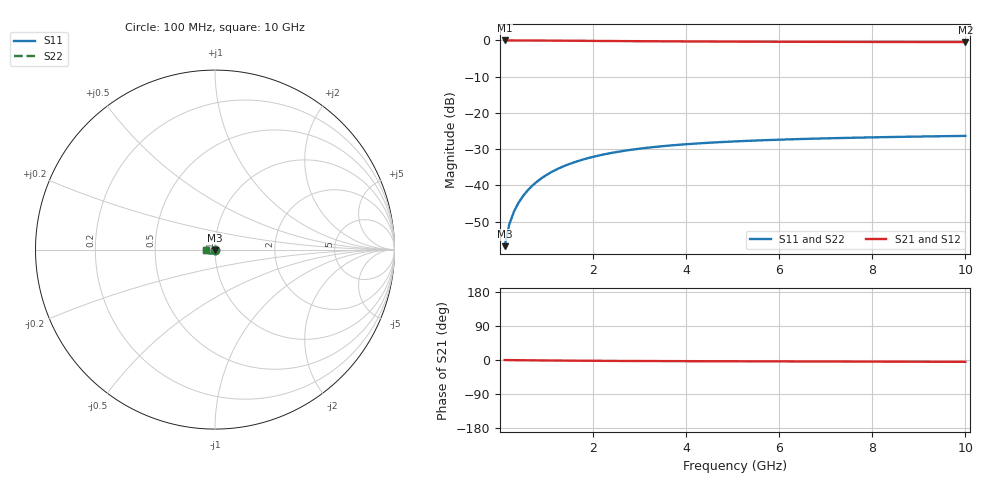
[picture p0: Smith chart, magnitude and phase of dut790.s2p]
! Touchstone file exported from HFSS 2024.1.0
!  File:  C:/UserFiles/LocalFiles/RDL_TSV_Batchsim/temp_TSV1_790_1779875363.aedt
!  Generated:  05:56:34 PM May 27, 2026
!  Design:  TSV1
!  Project:  temp_TSV1_790_1779875363
!  Setup:  Setup1
!  Solution:  Sweep
! Variables:
!  dtsv = 13.26um
!  hbump = 3um
!  htsv = 72.89um
!  lrdl = 252.1521522um
!  p = 40
!  p1 = 56.59um
!  t = 500um
!  trdl = 3um
!  wrdl = 24.89489489um
# GHz S MA R 50.000000
! Terminal data exported
! Port[1] = TSV22_T1
! Port[2] = TSV22_T2
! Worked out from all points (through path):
!   100 points, 100 MHz to 10 GHz, reference 50 ohm
!   highest |S21| = 0.00 dB at 100 MHz (marker M1); lowest = -0.4 dB at 10 GHz (marker M2)
!   lowest |S11| = -56.8 dB at 100 MHz (marker M3), VSWR 1.00, Z = 50 - j0.145 ohm
!   |S11| at or under -10 dB: start of sweep to end of sweep
!   |S22| runs from -56.8 to -26.3 dB; largest |S21 - S12| = 5.9e-15
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0.1  0.001449 -88.7  0.9999 -0.1  0.9999 -0.1  0.001449 -88.7
! Gamma 0 0 0 0
! Port Impedance 50 0 50 0
0.2  0.002894 -92.1  0.9997 -0.3  0.9997 -0.3  0.002894 -92.1
0.3  0.004338 -94.5  0.9994 -0.4  0.9994 -0.4  0.004338 -94.5
0.4  0.005772 -96.6  0.9991 -0.5  0.9991 -0.5  0.005772 -96.6
0.5  0.007192 -98.7  0.9986 -0.6  0.9986 -0.6  0.007192 -98.7
0.6  0.008593 -100.7  0.9981 -0.8  0.9981 -0.8  0.008593 -100.7
0.7  0.00997 -102.7  0.9975 -0.9  0.9975 -0.9  0.00997 -102.7
0.8  0.01132 -104.6  0.9969 -1.0  0.9969 -1.0  0.01132 -104.6
0.9  0.01264 -106.5  0.9961 -1.1  0.9961 -1.1  0.01264 -106.5
1.1  0.01518 -110.1  0.9945 -1.3  0.9945 -1.3  0.01518 -110.1
1.4  0.01872 -115.3  0.9918 -1.6  0.9918 -1.6  0.01872 -115.3
1.6  0.02088 -118.5  0.9899 -1.8  0.9899 -1.8  0.02088 -118.5
1.8  0.0229 -121.6  0.9879 -2.0  0.9879 -2.0  0.0229 -121.6
2.1  0.02564 -125.9  0.9849 -2.2  0.9849 -2.2  0.02564 -125.9
2.5  0.02881 -131.1  0.981 -2.4  0.981 -2.4  0.02881 -131.1
2.9  0.03149 -135.8  0.9774 -2.6  0.9774 -2.6  0.03149 -135.8
3.4  0.03427 -141.0  0.9734 -2.9  0.9734 -2.9  0.03427 -141.0
4.2  0.03772 -148.0  0.968 -3.1  0.968 -3.1  0.03772 -148.0
5.1  0.04057 -154.5  0.9632 -3.4  0.9632 -3.4  0.04057 -154.5
6.7  0.04404 -163.7  0.9573 -3.9  0.9573 -3.9  0.04404 -163.7
8.4  0.04649 -171.3  0.9533 -4.4  0.9533 -4.4  0.04649 -171.3
10  0.0482 -177.2  0.9507 -4.8  0.9507 -4.8  0.0482 -177.2
